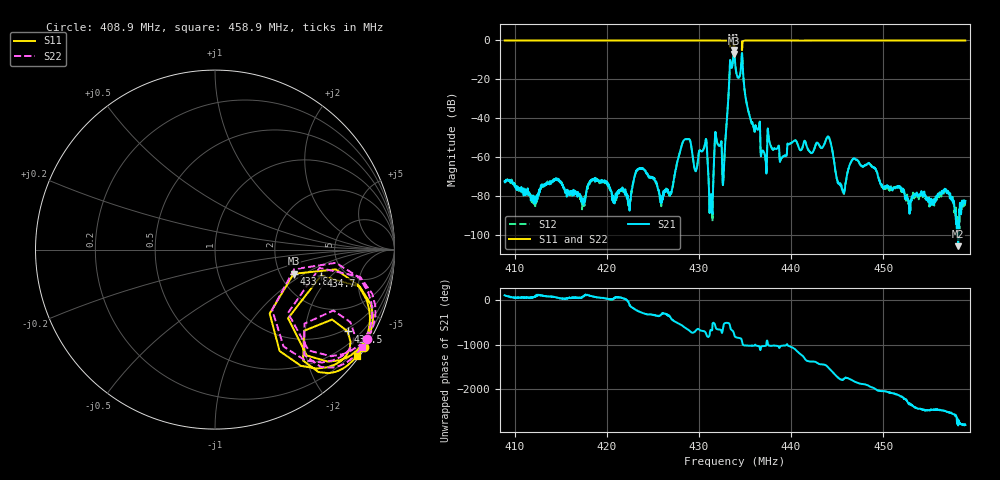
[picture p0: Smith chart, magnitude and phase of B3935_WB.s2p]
! Matrix data file written by TouchstoneData, EPCOS AG
! FILENAME: "B3935_MB.s2p"
! COMMENT: "(LY10A_14_MB.s2p) EPCOS AG 09.04.2010 16:41:"
! INFO: nport=2, nfreq=1601
! DATE: "Fri Apr  9 17:13:45 2010"
! USER: "Aleksander Breg"
! port | pin | signal
!  1  |  1  |  IN
!  2  |  4  |  OUT
# MHZ S MA R 50
! freq  magS11 angS11  magS21 angS21  magS12 angS12  magS22 angS22
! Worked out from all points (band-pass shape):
!   1601 points, 408.9 MHz to 458.9 MHz, reference 50 ohm
!   highest |S21| = -5.04 dB at 433.8 MHz (marker M1); lowest = -105.6 dB at 458.1 MHz (marker M2)
!   |S21| within 3 dB of the highest: 433.7414 MHz to 433.8768 MHz (135.4 kHz wide, 0.0312 % of centre); 434.6493 MHz to 434.7113 MHz (62.03 kHz wide, 0.0143 % of centre)
!   lowest |S11| = -6.8 dB at 433.8 MHz (marker M3), VSWR 2.69, Z = 118 - j40.4 ohm
!   |S11| at or under -10 dB: nowhere
!   |S22| runs from -6.8 to -0.1 dB; largest |S21 - S12| = 0.0026
!   S11 on the Smith chart (normalised r, x): 408.9 MHz: 0.06, -3.37; 433.5 MHz: 0.89, -3.30; 433.8 MHz: 2.36, -0.81; 434.7 MHz: 3.33, -1.54; 458.9 MHz: 0.06, -3.02
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408.92  0.9901 -33.1  0.0002452 111.6  0.0002445 106.6  0.9844 -30.4
417.2638  0.9892 -33.8  8.728e-05 67.7  8.344e-05 68.7  0.9836 -31.1
425.6075  0.9896 -34.7  0.0001472 3.2  0.0001408 3.9  0.9834 -32.0
426.92  0.9896 -35.0  0.000113 -20.6  0.0001239 -25.2  0.9833 -32.3
428.7325  0.988 -35.3  0.002923 74.4  0.002916 74.3  0.9815 -32.5
429.6388  0.9884 -35.5  0.0004557 34.8  0.0004513 34.8  0.9818 -32.7
430.7013  0.9873 -35.9  0.002515 5.4  0.002479 5.3  0.9808 -33.2
431.3263  0.989 -36.3  0.0001145 52.6  0.000106 44.9  0.9827 -33.5
431.92  0.9876 -36.7  0.002762 76.9  0.002773 76.4  0.9813 -34.0
432.7638  0.9861 -38.6  0.0009742 -161.1  0.0009827 -161.2  0.9796 -36.0
433.4513  0.8681 -31.7  0.2587 77.2  0.2583 77.0  0.8562 -28.2
433.8263  0.4582 -17.1  0.5597 -45.8  0.5612 -45.9  0.4546 -13.9
433.92  0.8901 -18.3  0.2842 -95.7  0.2844 -95.8  0.8848 -15.4
434.7013  0.6079 -13.9  0.4479 128.1  0.4491 127.8  0.5914 -9.9
437.1075  0.9895 -33.9  0.001282 54.9  0.001265 54.8  0.9835 -31.1
442.2638  0.9873 -34.9  0.001288 64.2  0.001302 64.8  0.9815 -32.1
444.0763  0.9844 -35.1  0.003374 -77.3  0.003373 -77.3  0.9788 -32.2
445.6075  0.9889 -35.3  0.0001402 12.7  0.0001275 22.3  0.983 -32.5
446.8888  0.988 -35.5  0.0009317 -23.9  0.0009369 -23.2  0.9817 -32.7
450.6075  0.9885 -35.8  0.0001644 97.2  0.0001466 102.0  0.983 -32.9
458.1388  0.9886 -36.6  5.265e-06 72.6  8.026e-06 -71.1  0.9831 -33.6
458.92  0.9887 -36.6  7.632e-05 83.3  6.295e-05 94.1  0.9833 -33.7
